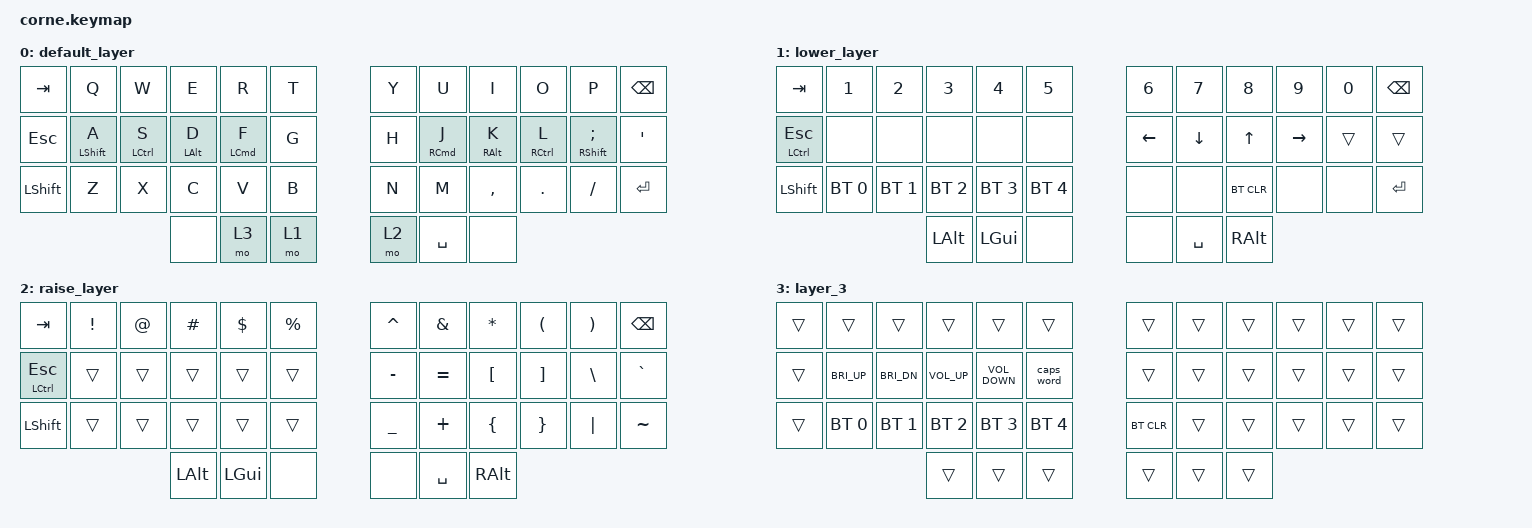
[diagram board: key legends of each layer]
/*
 * Copyright (c) 2020 The ZMK Contributors
 *
 * SPDX-License-Identifier: MIT
 */

#include <behaviors.dtsi>
#include <dt-bindings/zmk/bt.h>
#include <dt-bindings/zmk/keys.h>

/ {
    behaviors {
        homerow_mods_left: homerow_mods_left {
            compatible = "zmk,behavior-hold-tap";
            label = "HOMEROW_MODS_LEFT";
            #binding-cells = <2>;
            hold-trigger-key-positions = <6 7 8 18 19 20 30 31 32 39 40 41 6 7 8 9 10 11 18 19 20 21 22 23 30 31 32 33 34 35>;
            tapping-term-ms = <280>;
            quick-tap-ms = <175>;
            require-prior-idle-ms = <150>;
            flavor = "balanced";
            hold-trigger-on-release;
            bindings = <&kp>, <&kp>;
        };

        homerow_mods_right: homerow_mods_right {
            compatible = "zmk,behavior-hold-tap";
            label = "HOMEROW_MODS_RIGHT";
            bindings = <&kp>, <&kp>;

            #binding-cells = <2>;
            tapping-term-ms = <280>;
            flavor = "balanced";
            hold-trigger-key-positions = <0 1 2 3 4 5 12 13 14 15 16 17 24 25 26 27 28 29 36 37 38>;
            hold-trigger-on-release;
            require-prior-idle-ms = <150>;
            quick-tap-ms = <175>;
        };
    };

    keymap {
        compatible = "zmk,keymap";

        default_layer {
            // -----------------------------------------------------------------------------------------
            // |  TAB |  Q  |  W  |  E  |  R  |  T  |   |  Y  |  U   |  I  |  O  |  P  | BSPC |
            // | CTRL |  A  |  S  |  D  |  F  |  G  |   |  H  |  J   |  K  |  L  |  ;  |  '   |
            // | SHFT |  Z  |  X  |  C  |  V  |  B  |   |  N  |  M   |  ,  |  .  |  /  | ESC  |
            //                    | GUI | LWR | SPC |   | ENT | RSE  | ALT |

            bindings = <
&kp TAB     &kp Q                            &kp W                              &kp E                          &kp R                              &kp T    &kp Y  &kp U                                &kp I                            &kp O                                &kp P                                      &kp BSPC
&kp ESCAPE  &homerow_mods_left LEFT_SHIFT A  &homerow_mods_left LEFT_CONTROL S  &homerow_mods_left LEFT_ALT D  &homerow_mods_left LEFT_COMMAND F  &kp G    &kp H  &homerow_mods_right RIGHT_COMMAND J  &homerow_mods_right RIGHT_ALT K  &homerow_mods_right RIGHT_CONTROL L  &homerow_mods_right RIGHT_SHIFT SEMICOLON  &kp SQT
&kp LSHFT   &kp Z                            &kp X                              &kp C                          &kp V                              &kp B    &kp N  &kp M                                &kp COMMA                        &kp DOT                              &kp FSLH                                   &kp ENTER
                                                                                &none                          &mo 3                              &mo 1    &mo 2  &kp SPACE                            &none
            >;
        };

        lower_layer {
            // -----------------------------------------------------------------------------------------
            // |  TAB |  1  |  2  |  3  |  4  |  5  |   |  6  |  7  |  8  |  9  |  0  | BSPC |
            // | BTCLR| BT1 | BT2 | BT3 | BT4 | BT5 |   | LFT | DWN |  UP | RGT |     |      |
            // | SHFT |     |     |     |     |     |   |     |     |     |     |     |      |
            //                    | GUI |     | SPC |   | ENT |     | ALT |

            bindings = <
&kp TAB           &kp N1        &kp N2        &kp N3        &kp N4        &kp N5          &kp N6    &kp N7     &kp N8      &kp N9     &kp N0  &kp BSPC
&mt LCTRL ESCAPE  &none         &none         &none         &none         &none           &kp LEFT  &kp DOWN   &kp UP      &kp RIGHT  &trans  &trans
&kp LSHFT         &bt BT_SEL 0  &bt BT_SEL 1  &bt BT_SEL 2  &bt BT_SEL 3  &bt BT_SEL 4    &none     &none      &bt BT_CLR  &none      &none   &kp ENTER
                                              &kp LALT      &kp LEFT_GUI  &none           &none     &kp SPACE  &kp RALT
            >;
        };

        raise_layer {
            // -----------------------------------------------------------------------------------------
            // |  TAB |  !  |  @  |  #  |  $  |  %  |   |  ^  |  &  |  *  |  (  |  )  | BSPC |
            // | CTRL |     |     |     |     |     |   |  -  |  =  |  [  |  ]  |  \  |  `   |
            // | SHFT |     |     |     |     |     |   |  _  |  +  |  {  |  }  | "|" |  ~   |
            //                    | GUI |     | SPC |   | ENT |     | ALT |

            bindings = <
&kp TAB           &kp EXCL  &kp AT  &kp HASH  &kp DLLR  &kp PRCNT    &kp CARET  &kp AMPS   &kp ASTRK  &kp LPAR  &kp RPAR  &kp BSPC
&mt LCTRL ESCAPE  &trans    &trans  &trans    &trans    &trans       &kp MINUS  &kp EQUAL  &kp LBKT   &kp RBKT  &kp BSLH  &kp GRAVE
&kp LSHFT         &trans    &trans  &trans    &trans    &trans       &kp UNDER  &kp PLUS   &kp LBRC   &kp RBRC  &kp PIPE  &kp TILDE
                                    &kp LALT  &kp LGUI  &none        &none      &kp SPACE  &kp RALT
            >;
        };

        layer_3 {
            bindings = <
&trans  &trans        &trans        &trans        &trans             &trans          &trans      &trans  &trans  &trans  &trans  &trans
&trans  &kp C_BRI_UP  &kp C_BRI_DN  &kp C_VOL_UP  &kp C_VOLUME_DOWN  &caps_word      &trans      &trans  &trans  &trans  &trans  &trans
&trans  &bt BT_SEL 0  &bt BT_SEL 1  &bt BT_SEL 2  &bt BT_SEL 3       &bt BT_SEL 4    &bt BT_CLR  &trans  &trans  &trans  &trans  &trans
                                    &trans        &trans             &trans          &trans      &trans  &trans
            >;
        };
    };
};
